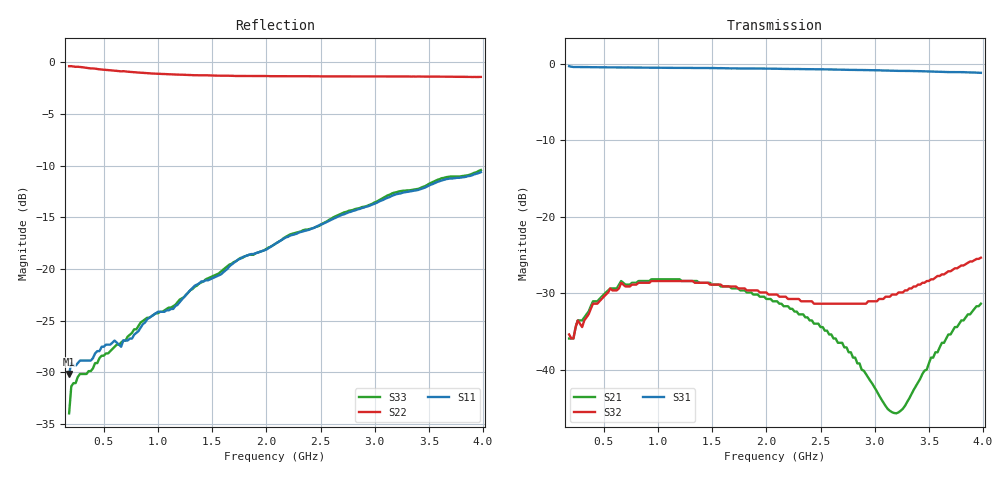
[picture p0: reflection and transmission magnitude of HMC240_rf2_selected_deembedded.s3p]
!Hittite Microwave Corporation
!12 Elizabeth Drive
!Chelmsford, MA 01824
!Tel: 978-250-3343
!Fax: 978-250-3373
!Device: HMC240, DC-4 GHz GaAs MMIC SPDT SWITCH
!Misc: Port1 = RFC, Port2 = RF1, Port3 = RF2, RF2 ON, Vctl=-5V, Data includes 2 SMA connectors, Room
# MHZ S MA R 50
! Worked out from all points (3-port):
!   191 points, 180 MHz to 3.98 GHz, reference 50 ohm
!   strongest paths, dB at 180 MHz, 1.12 GHz, 2.08 GHz, 3.04 GHz, 3.98 GHz:
!     S31: -0.3, -0.5, -0.6, -0.9, -1.2
!     S32: -35.4, -28.4, -30.2, -30.8, -25.4
!     S21: -35.9, -28.2, -31.1, -43.3, -31.4
!   lowest |S11| = -30.2 dB at 180 MHz (marker M1), VSWR 1.06, Z = 53.2 - j0.178 ohm
!   |S11| at or under -10 dB: start of sweep to end of sweep
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180  0.031 -3.1  0.016 68.4  0.966 -7.9
     0.016 68.8  0.958 -39.2  0.017 72.1
     0.964 -8.0  0.017 71.8  0.02 4.0
320  0.036 -32.2  0.022 50.2  0.952 -13.2
     0.022 50.1  0.944 -67.0  0.02 54.0
     0.951 -13.3  0.021 54.2  0.031 -33.9
480  0.042 -50.3  0.03 32.9  0.949 -19.6
     0.03 33.0  0.923 -94.9  0.029 39.6
     0.948 -19.6  0.029 39.6  0.038 -57.2
700  0.045 -65.9  0.036 8.9  0.947 -28.2
     0.036 8.9  0.903 -125.9  0.035 18.8
     0.945 -28.3  0.035 18.8  0.045 -72.7
960  0.06 -92.0  0.039 -9.9  0.944 -38.6
     0.039 -10.1  0.882 -155.0  0.038 3.4
     0.942 -38.7  0.038 3.3  0.06 -96.5
1440  0.088 -123.7  0.037 -42.0  0.939 -57.7
      0.037 -42.0  0.865 163.9  0.037 -19.8
      0.937 -57.7  0.037 -19.7  0.089 -126.6
2080  0.132 -160.1  0.028 -80.0  0.931 -83.3
      0.028 -80.0  0.857 122.7  0.031 -36.8
      0.928 -83.2  0.031 -36.8  0.132 -161.4
2660  0.179 170.9  0.016 -117.8  0.917 -106.5
      0.015 -117.7  0.856 90.6  0.027 -35.5
      0.916 -106.4  0.027 -35.5  0.182 171.2
3180  0.228 146.8  0.005168 150.9  0.902 -127.3
      0.005211 150.9  0.854 64.6  0.031 -26.7
      0.899 -127.3  0.031 -26.7  0.234 148.2
3980  0.294 113.4  0.027 31.3  0.874 -159.2
      0.027 31.4  0.85 26.1  0.054 -33.1
      0.872 -159.1  0.054 -33.0  0.301 112.8
